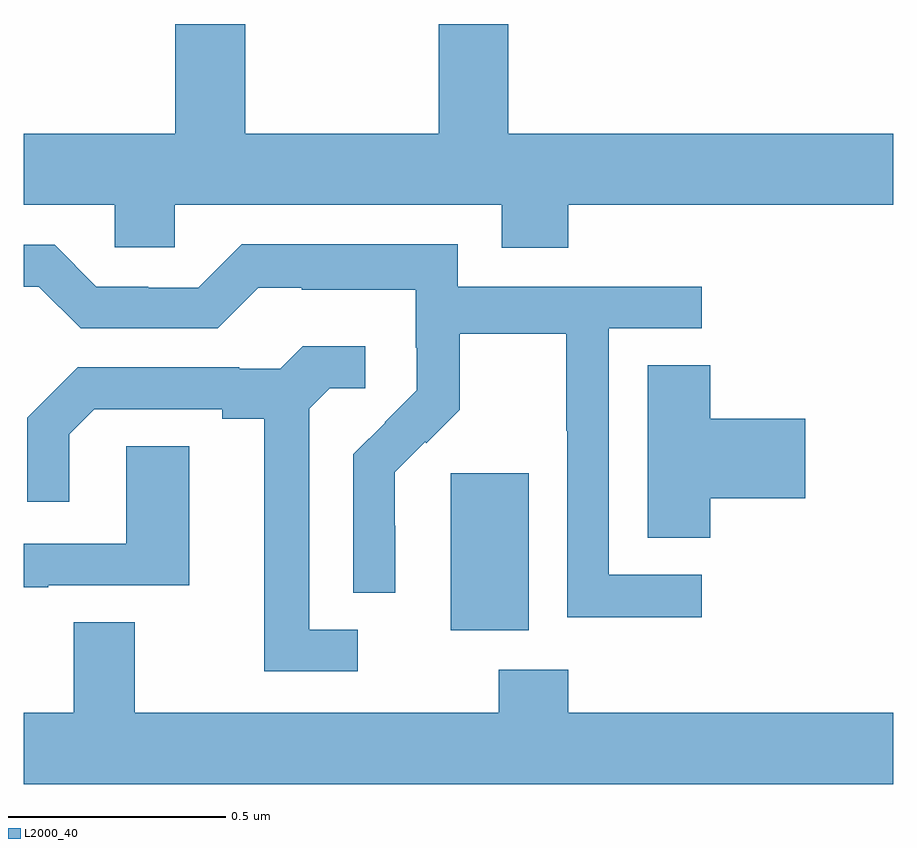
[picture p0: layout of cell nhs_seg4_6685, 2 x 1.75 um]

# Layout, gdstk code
import gdstk
lib = gdstk.Library(unit=1e-6, precision=1e-09)
def R(c, l, rs):  # rectangles x0, y0, x1, y1
    for r in rs: c.add(gdstk.rectangle(r[:2], r[2:], *l))
def P(c, l, *ps):  # polygons
    for p in ps: c.add(gdstk.Polygon(p, *l))
L2000_40 = (2000, 40)

nhs_seg4_6685 = lib.new_cell('nhs_seg4_6685')
R(nhs_seg4_6685, L2000_40, [(193.982,798.506,194.161,798.867)])
P(nhs_seg4_6685, L2000_40, [(194.252,799.484),(195,799.484),(195,799.648),(194.114,799.648),(194.114,799.9),(193.954,799.9),(193.954,799.648),(193.509,799.648),(193.509,799.9),(193.349,799.9),(193.349,799.648),(193,799.648),(193,799.484),(193.209,799.484),(193.209,799.386),(193.347,799.386),(193.347,799.484),(194.099,799.484),(194.099,799.385),(194.252,799.385)],
  [(194.56,798.633),(194.346,798.633),(194.346,799.2),(194.56,799.2),(194.56,799.296),(193.998,799.296),(193.998,799.393),(193.501,799.393),(193.401,799.293),(193.286,799.293),(193.286,799.296),(193.167,799.296),(193.071,799.392),(193,799.392),(193,799.296),(193.035,799.296),(193.131,799.2),(193.446,799.2),(193.539,799.293),(193.639,799.293),(193.639,799.289),(193.902,799.289),(193.902,799.155),(193.904,799.155),(193.904,799.058),(193.83,798.984),(193.831,798.983),(193.758,798.91),(193.758,798.592),(193.854,798.592),(193.854,798.746),(193.853,798.746),(193.853,798.869),(193.923,798.939),(193.926,798.936),(194.003,799.013),(194.003,799.188),(194.248,799.188),(194.248,798.964),(194.25,798.964),(194.25,798.535),(194.56,798.535)],
  [(193.768,798.507),(193.657,798.507),(193.657,799.015),(193.704,799.062),(193.786,799.062),(193.786,799.159),(193.642,799.159),(193.59,799.107),(193.496,799.107),(193.496,799.11),(193.124,799.11),(193.008,798.994),(193.008,798.801),(193.105,798.801),(193.105,798.957),(193.162,799.014),(193.457,799.014),(193.457,798.992),(193.553,798.992),(193.553,798.411),(193.768,798.411)],
  [(194.579,798.809),(194.797,798.809),(194.797,798.992),(194.579,798.992),(194.579,799.115),(194.435,799.115),(194.435,798.718),(194.579,798.718)],
  [(193.057,798.609),(193.381,798.609),(193.381,798.929),(193.236,798.929),(193.236,798.705),(193,798.705),(193,798.605),(193.057,798.605)],
  [(195,798.316),(194.252,798.316),(194.252,798.415),(194.092,798.415),(194.092,798.316),(193.255,798.316),(193.255,798.524),(193.115,798.524),(193.115,798.316),(193,798.316),(193,798.152),(195,798.152)])

lib.write_gds('nhs_seg4_6685.gds')
